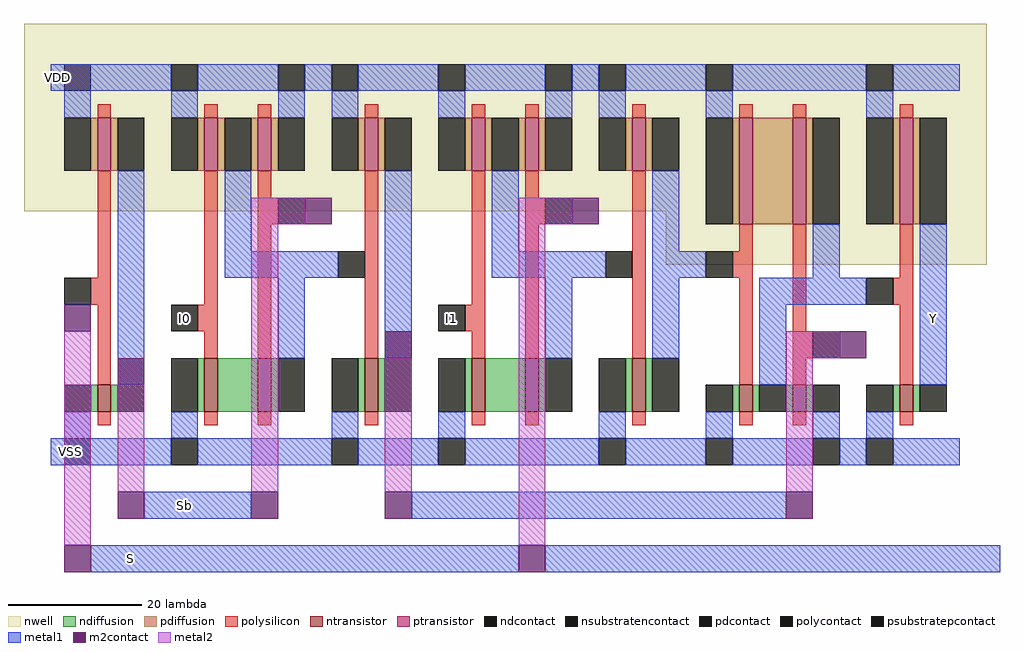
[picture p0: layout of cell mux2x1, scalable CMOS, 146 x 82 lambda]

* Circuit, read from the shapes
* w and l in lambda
.subckt mux2x1 I0 I1 S Sb VDD VSS Y
M1 Sb S VSS VSS nfet w=4 l=2
M2 n1 I0 VSS VSS nfet w=8 l=2
M3 n2 Sb n1 VSS nfet w=8 l=2
M4 OR2_0/B n2 VSS VSS nfet w=8 l=2
M5 n3 I1 VSS VSS nfet w=8 l=2
M6 n4 S n3 VSS nfet w=8 l=2
M7 OR2_0/A n4 VSS VSS nfet w=8 l=2
M8 n5 OR2_0/A VSS VSS nfet w=4 l=2
M9 VSS OR2_0/B n5 VSS nfet w=4 l=2
M10 Y n5 VSS VSS nfet w=4 l=2
M11 Sb S VDD VDD pfet w=8 l=2
M12 n2 I0 VDD VDD pfet w=8 l=2
M13 VDD Sb n2 VDD pfet w=8 l=2
M14 OR2_0/B n2 VDD VDD pfet w=8 l=2
M15 n4 I1 VDD VDD pfet w=8 l=2
M16 VDD S n4 VDD pfet w=8 l=2
M17 OR2_0/A n4 VDD VDD pfet w=8 l=2
M18 n6 OR2_0/A VDD VDD pfet w=16 l=2
M19 n5 OR2_0/B n6 VDD pfet w=16 l=2
M20 Y n5 VDD VDD pfet w=16 l=2
.ends

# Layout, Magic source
magic
tech scmos
<< polycontact >>
rect 18 20 22 24
rect 58 20 62 24
<< metal1 >>
rect 0 56 6 60
rect 94 28 98 32
rect 130 20 134 24
rect 0 0 6 4
rect 14 -8 30 -4
rect 54 -8 110 -4
rect 6 -16 70 -12
rect 74 -16 142 -12
<< m2contact >>
rect 38 36 42 40
rect 78 36 82 40
rect 2 20 6 24
rect 50 16 54 20
rect 118 16 122 20
rect 10 12 14 16
rect 10 -8 14 -4
rect 30 -8 34 -4
rect 50 -8 54 -4
rect 110 -8 114 -4
rect 2 -16 6 -12
rect 70 -16 74 -12
<< metal2 >>
rect 30 36 38 40
rect 70 36 78 40
rect 2 -12 6 20
rect 10 -4 14 12
rect 30 -4 34 36
rect 50 -4 54 16
rect 70 -12 74 36
rect 110 16 118 20
rect 110 -4 114 16
use AND2  AND2_0
transform 1 0 16 0 1 0
box -4 0 44 66
use AND2  AND2_1
transform 1 0 56 0 1 0
box -4 0 44 66
use INV  INV_0
transform 1 0 0 0 1 0
box -4 0 20 66
use OR2  OR2_0
transform 1 0 96 0 1 0
box -4 0 44 66
<< labels >>
rlabel polycontact 20 22 20 22 1 I0
rlabel metal1 12 -14 12 -14 1 S
rlabel metal1 20 -6 20 -6 1 Sb
rlabel polycontact 60 22 60 22 1 I1
rlabel metal1 132 22 132 22 1 Y
rlabel metal1 1 58 1 58 3 VDD
rlabel metal1 0 0 6 4 1 VSS
<< end >>

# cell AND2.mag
magic
tech scmos
<< nwell >>
rect -4 38 44 66
<< ntransistor >>
rect 7 8 9 16
rect 15 8 17 16
rect 31 8 33 16
<< ptransistor >>
rect 7 44 9 52
rect 15 44 17 52
rect 31 44 33 52
<< ndiffusion >>
rect 6 8 7 16
rect 9 8 15 16
rect 17 8 18 16
rect 30 8 31 16
rect 33 8 34 16
<< pdiffusion >>
rect 6 44 7 52
rect 9 44 10 52
rect 14 44 15 52
rect 17 44 18 52
rect 30 44 31 52
rect 33 44 34 52
<< ndcontact >>
rect 2 8 6 16
rect 18 8 22 16
rect 26 8 30 16
rect 34 8 38 16
<< pdcontact >>
rect 2 44 6 52
rect 10 44 14 52
rect 18 44 22 52
rect 26 44 30 52
rect 34 44 38 52
<< psubstratepcontact >>
rect 2 0 6 4
rect 26 0 30 4
<< nsubstratencontact >>
rect 2 56 6 60
rect 18 56 22 60
rect 26 56 30 60
<< polysilicon >>
rect 7 52 9 54
rect 15 52 17 54
rect 31 52 33 54
rect 7 24 9 44
rect 6 20 9 24
rect 7 16 9 20
rect 15 40 17 44
rect 15 36 18 40
rect 15 16 17 36
rect 31 16 33 44
rect 7 6 9 8
rect 15 6 17 8
rect 31 6 33 8
<< polycontact >>
rect 2 20 6 24
rect 18 36 22 40
rect 27 28 31 32
<< metal1 >>
rect 0 56 2 60
rect 6 56 18 60
rect 22 56 26 60
rect 30 56 40 60
rect 2 52 6 56
rect 18 52 22 56
rect 26 52 30 56
rect 10 32 14 44
rect 10 28 27 32
rect 18 16 22 28
rect 34 16 38 44
rect 2 4 6 8
rect 26 4 30 8
rect 0 0 2 4
rect 6 0 26 4
rect 30 0 40 4
<< labels >>
rlabel polycontact 4 22 4 22 3 A
rlabel psubstratepcontact 4 2 4 2 2 VSS
rlabel psubstratepcontact 28 2 28 2 1 VSS
rlabel nsubstratencontact 4 58 4 58 4 VDD
rlabel polycontact 20 38 20 38 7 B
rlabel nsubstratencontact 20 58 20 58 6 VDD
rlabel metal1 36 30 36 30 1 Y
rlabel nsubstratencontact 28 58 28 58 1 VDD
<< end >>

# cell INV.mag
magic
tech scmos
<< nwell >>
rect -4 38 20 66
<< ntransistor >>
rect 7 8 9 12
<< ptransistor >>
rect 7 44 9 52
<< ndiffusion >>
rect 6 8 7 12
rect 9 8 10 12
<< pdiffusion >>
rect 6 44 7 52
rect 9 44 10 52
<< ndcontact >>
rect 2 8 6 12
rect 10 8 14 12
<< pdcontact >>
rect 2 44 6 52
rect 10 44 14 52
<< psubstratepcontact >>
rect 2 0 6 4
<< nsubstratencontact >>
rect 2 56 6 60
<< polysilicon >>
rect 7 52 9 54
rect 7 28 9 44
rect 6 24 9 28
rect 7 12 9 24
rect 7 6 9 8
<< polycontact >>
rect 2 24 6 28
<< metal1 >>
rect 0 56 2 60
rect 6 56 16 60
rect 2 52 6 56
rect 10 12 14 44
rect 2 4 6 8
rect 0 0 2 4
rect 6 0 16 4
<< labels >>
rlabel polycontact 4 26 4 26 3 A
rlabel metal1 12 26 12 26 1 Y
rlabel psubstratepcontact 4 2 4 2 2 VSS
rlabel nsubstratencontact 4 58 4 58 3 VDD
<< end >>

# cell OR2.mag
magic
tech scmos
<< nwell >>
rect -4 30 44 66
<< ntransistor >>
rect 7 8 9 12
rect 15 8 17 12
rect 31 8 33 12
<< ptransistor >>
rect 7 36 9 52
rect 15 36 17 52
rect 31 36 33 52
<< ndiffusion >>
rect 6 8 7 12
rect 9 8 10 12
rect 14 8 15 12
rect 17 8 18 12
rect 30 8 31 12
rect 33 8 34 12
<< pdiffusion >>
rect 6 36 7 52
rect 9 36 15 52
rect 17 36 18 52
rect 30 36 31 52
rect 33 36 34 52
<< ndcontact >>
rect 2 8 6 12
rect 10 8 14 12
rect 18 8 22 12
rect 26 8 30 12
rect 34 8 38 12
<< pdcontact >>
rect 2 36 6 52
rect 18 36 22 52
rect 26 36 30 52
rect 34 36 38 52
<< psubstratepcontact >>
rect 2 0 6 4
rect 18 0 22 4
rect 26 0 30 4
<< nsubstratencontact >>
rect 2 56 6 60
rect 26 56 30 60
<< polysilicon >>
rect 7 52 9 54
rect 15 52 17 54
rect 31 52 33 54
rect 7 32 9 36
rect 6 28 9 32
rect 7 12 9 28
rect 15 20 17 36
rect 31 28 33 36
rect 30 24 33 28
rect 15 16 18 20
rect 15 12 17 16
rect 31 12 33 24
rect 7 6 9 8
rect 15 6 17 8
rect 31 6 33 8
<< polycontact >>
rect 2 28 6 32
rect 26 24 30 28
rect 18 16 22 20
<< metal1 >>
rect 0 56 2 60
rect 6 56 26 60
rect 30 56 40 60
rect 2 52 6 56
rect 26 52 30 56
rect 18 28 22 36
rect 10 24 26 28
rect 10 12 14 24
rect 34 12 38 36
rect 2 4 6 8
rect 18 4 22 8
rect 26 4 30 8
rect 0 0 2 4
rect 6 0 18 4
rect 22 0 26 4
rect 30 0 40 4
<< labels >>
rlabel polycontact 20 18 20 18 7 B
rlabel psubstratepcontact 4 2 4 2 2 VSS
rlabel psubstratepcontact 20 2 20 2 8 VSS
rlabel psubstratepcontact 28 2 28 2 1 VSS
rlabel nsubstratencontact 4 58 4 58 4 VDD
rlabel polycontact 4 30 4 30 3 A
rlabel metal1 36 26 36 26 1 Y
rlabel nsubstratencontact 28 58 28 58 1 VDD
<< end >>
